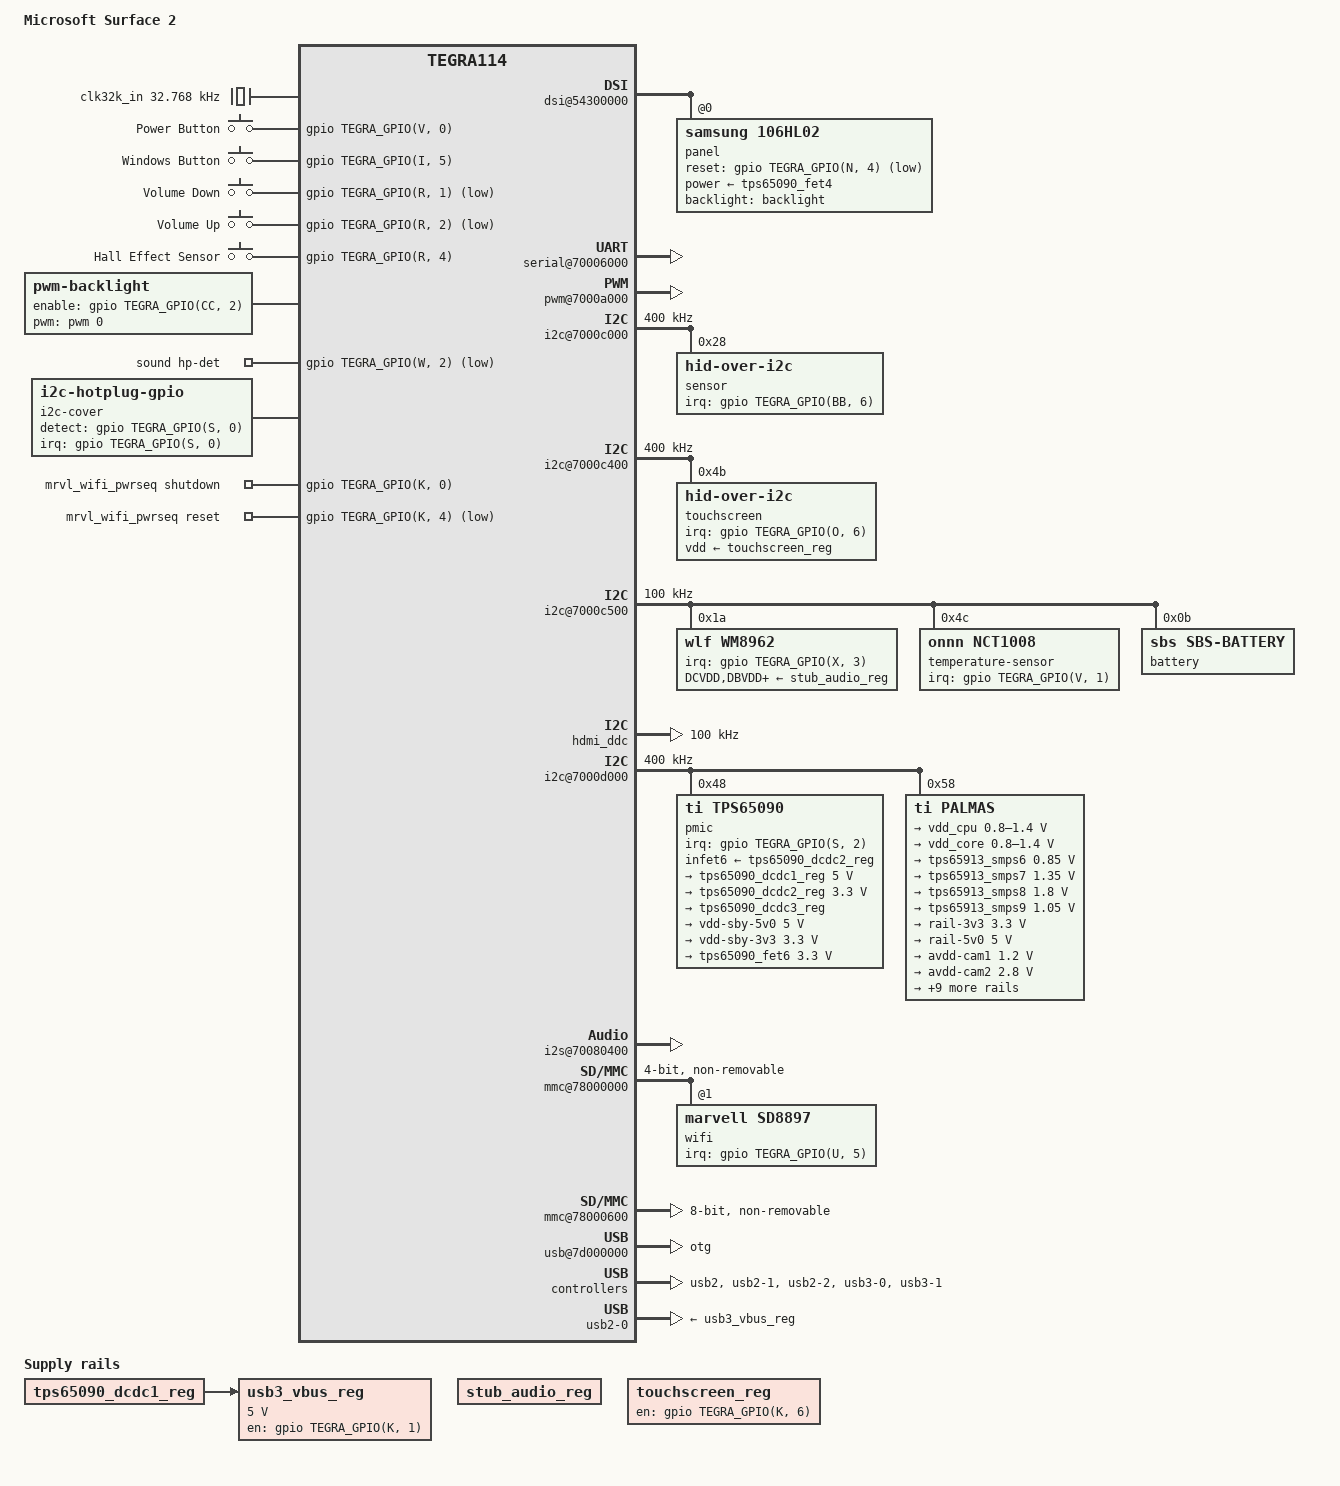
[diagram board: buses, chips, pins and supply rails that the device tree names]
// SPDX-License-Identifier: GPL-2.0

/dts-v1/;

#include <dt-bindings/input/input.h>
#include "tegra114.dtsi"
//#include "tegra114-microsoft-surface-2-emc.dtsi"

/ {
	model = "Microsoft Surface 2";
	compatible = "microsoft,surface-2", "nvidia,tegra114";

	aliases {
		mmc0 = &sdmmc4; /* eMMC */
		mmc1 = &sdmmc3; /* uSD slot */
		mmc2 = &sdmmc1; /* WiFi */

		rtc0 = &palmas;
		rtc1 = "/rtc@7000e000";

		serial0 = &uarta; /* console */
	};

	chosen {
		stdout-path = "serial0:115200n8";
	};

	/* CPU DFLL clock */
	clock@70110000 {
		status = "okay";
		nvidia,i2c-fs-rate = <400000>;
		vdd-cpu-supply = <&vdd_cpu>;
		nvidia,i2c-fs-rate = <400000>;
	};

	clk32k_in: clock-32 {
		compatible = "fixed-clock";
		clock-frequency = <32768>;
		#clock-cells = <0>;
	};

	gpio-keys {
		compatible = "gpio-keys";

		label = "GPIO Buttons";

		power {
			label = "Power Button";
			gpios = <&gpio TEGRA_GPIO(V, 0) GPIO_ACTIVE_HIGH>;
			linux,code = <KEY_POWER>;
			debounce-interval = <10>;
			wakeup-source;
		};

		windows-button {
			label = "Windows Button";
			gpios = <&gpio TEGRA_GPIO(I, 5) GPIO_ACTIVE_HIGH>;
			linux,code = <KEY_LEFTMETA>;
			debounce-interval = <10>;
			wakeup-source;
		};

		volume-down {
			label = "Volume Down";
			gpios = <&gpio TEGRA_GPIO(R, 1) GPIO_ACTIVE_LOW>;
			linux,code = <KEY_VOLUMEDOWN>;
			debounce-interval = <10>;
		};

		volume-up {
			label = "Volume Up";
			gpios = <&gpio TEGRA_GPIO(R, 2) GPIO_ACTIVE_LOW>;
			linux,code = <KEY_VOLUMEUP>;
			debounce-interval = <10>;
		};
	};

	gpio-hall-sensor {
		compatible = "gpio-keys";

		label = "GPIO Hall Effect Sensor";

		hall-sensor {
			label = "Hall Effect Sensor";
			gpios = <&gpio TEGRA_GPIO(R, 4) GPIO_ACTIVE_HIGH>;
			linux,input-type = <EV_SW>;
			linux,code = <SW_LID>;
			linux,can-disable;
			wakeup-source;
		};
	};

	backlight: backlight {
		compatible = "pwm-backlight";

		enable-gpios = <&gpio TEGRA_GPIO(CC, 2) GPIO_ACTIVE_HIGH>;
		//power-supply = <&tps65090_fet1>;
		pwms = <&pwm 0 100000>;

		brightness-levels = <1 254>;
		num-interpolated-steps = <254>;
		default-brightness-level = <128>;
	};

	sound {
		compatible = "nvidia,tegra-audio-wm8962";
		nvidia,model = "NVIDIA Tegra Surface 2";

		nvidia,audio-routing =
			"Headphone Jack", "HPOUTR",
			"Headphone Jack", "HPOUTL",
			"Int Spk", "SPKOUTR",
			"Int Spk", "SPKOUTL";

		nvidia,i2s-controller = <&tegra_i2s1>;
		nvidia,audio-codec = <&wm8962>;

		nvidia,hp-det-gpios = <&gpio TEGRA_GPIO(W, 2) GPIO_ACTIVE_LOW>;

		clocks = <&tegra_car TEGRA114_CLK_PLL_A>,
			 <&tegra_car TEGRA114_CLK_PLL_A_OUT0>,
			 <&tegra_pmc TEGRA_PMC_CLK_OUT_1>;
		clock-names = "pll_a", "pll_a_out0", "mclk";

		assigned-clocks = <&tegra_car TEGRA114_CLK_EXTERN1>,
				  <&tegra_pmc TEGRA_PMC_CLK_OUT_1>;

		assigned-clock-parents = <&tegra_car TEGRA114_CLK_PLL_A_OUT0>,
					 <&tegra_car TEGRA114_CLK_EXTERN1>;
	};

	host1x@50000000 {
		hdmi@54280000 {
			status = "disabled"; // doesn't work yet

			nvidia,ddc-i2c-bus = <&hdmi_ddc>;
			nvidia,hpd-gpio = <&gpio TEGRA_GPIO(N, 7) GPIO_ACTIVE_HIGH>;
		};

		dsi@54300000 {
			status = "okay";

			avdd-dsi-csi-supply = <&tps65913_ldo3>;

			panel@0 {
				compatible = "samsung,106hl02";
				reg = <0>;

				// Reset pin is guessed. Not even sure if there is a reset pin.
				reset-gpios = <&gpio TEGRA_GPIO(N, 4) GPIO_ACTIVE_LOW>;

				// FET4 doesn't control backlight but it is needed for the display to work??
				power-supply = <&tps65090_fet4>;
				backlight = <&backlight>;
			};
		};
	};

	pmc@7000e400 {
		status = "okay";
		nvidia,invert-interrupt;
                nvidia,suspend-mode = <2>;

	};

	serial@70006000 {
		status = "okay";
	};

	pinmux@70000868 {
		pinctrl-names = "default";
		pinctrl-0 = <&state_default>;

		state_default: pinmux {
			/* UART A RX ??? */

			sdmmc3_cmd_pa7 {
				nvidia,pins = "sdmmc3_cmd_pa7";
				nvidia,function = "uarta";
				nvidia,pull = <TEGRA_PIN_PULL_DOWN>;
				nvidia,tristate = <TEGRA_PIN_ENABLE>;
				nvidia,enable-input = <TEGRA_PIN_ENABLE>;
			};


			/* UART A TX */

			sdmmc3_dat1_pb6 {
				nvidia,pins = "sdmmc3_dat1_pb6";
				nvidia,function = "uarta";
				nvidia,pull = <TEGRA_PIN_PULL_NONE>;
				nvidia,tristate = <TEGRA_PIN_DISABLE>;
				nvidia,enable-input = <TEGRA_PIN_DISABLE>;
			};


			panel-backlight {
				nvidia,pins = "gmi_ad8_ph0";
				nvidia,function = "pwm0";
				nvidia,pull = <TEGRA_PIN_PULL_NONE>;
				nvidia,tristate = <TEGRA_PIN_DISABLE>;
				nvidia,enable-input = <TEGRA_PIN_DISABLE>;
			};
/*
			hdmi_int_pn7 {
				nvidia,pins = "hdmi_int_pn7";
				nvidia,function = "rsvd1";
				nvidia,pull = <TEGRA_PIN_PULL_DOWN>;
				nvidia,tristate = <TEGRA_PIN_DISABLE>;
				nvidia,enable-input = <TEGRA_PIN_ENABLE>;
			};
*/

			usb_vbus_en0_pn4 {
				nvidia,pins = "usb_vbus_en0_pn4";
				nvidia,function = "usb";
				nvidia,pull = <TEGRA_PIN_PULL_UP>;
				nvidia,tristate = <TEGRA_PIN_DISABLE>;
				nvidia,enable-input = <TEGRA_PIN_ENABLE>;
				nvidia,lock = <TEGRA_PIN_DISABLE>;
				nvidia,open-drain = <TEGRA_PIN_ENABLE>;
			};


		};
	};

	pwm@7000a000 {
		status = "okay";
	};

	i2c@7000c000 {
		status = "okay";
		clock-frequency = <400000>;

		sensor@28 {
			compatible = "hid-over-i2c";
			reg = <0x28>;
			hid-descr-addr = <0x0001>;
			interrupt-parent = <&gpio>;
			interrupts = <TEGRA_GPIO(BB, 6) IRQ_TYPE_LEVEL_LOW>;
		};
	};

	i2c-cover {
		compatible = "i2c-hotplug-gpio";

		#address-cells = <1>;
		#size-cells = <0>;

		interrupts-extended = <&gpio TEGRA_GPIO(S, 0) IRQ_TYPE_EDGE_BOTH>;
		detect-gpios = <&gpio TEGRA_GPIO(S, 0) GPIO_ACTIVE_HIGH>;

		i2c-parent = <&i2c1>;

		cover@0 {
			compatible = "hid-over-i2c";
			reg = <0x00>;
			hid-descr-addr = <0x0041>;
			interrupt-parent = <&gpio>;
			interrupts = <TEGRA_GPIO(C, 7) IRQ_TYPE_LEVEL_LOW>;
		};
	};

	i2c@7000c400 {
		status = "okay";
		clock-frequency = <400000>;

		touchscreen@4b {
			compatible = "hid-over-i2c";
			reg = <0x4b>;
			hid-descr-addr = <0x0000>;
			interrupt-parent = <&gpio>;
			interrupts = <TEGRA_GPIO(O, 6) IRQ_TYPE_LEVEL_LOW>;
			vdd-supply = <&touchscreen_reg>;
		};
	};

	i2c@7000c500 {
		status = "okay";
		clock-frequency = <100000>;

		wm8962: audio-codec@1a {
			compatible = "wlf,wm8962";
			reg = <0x1a>;
			interrupt-parent = <&gpio>;
			interrupts = <TEGRA_GPIO(X, 3) IRQ_TYPE_LEVEL_HIGH>;

			// stub reg to make dtbs_check happy
			DCVDD-supply = <&stub_audio_reg>;
			DBVDD-supply = <&stub_audio_reg>;
			AVDD-supply = <&stub_audio_reg>;
			CPVDD-supply = <&stub_audio_reg>;
			MICVDD-supply = <&stub_audio_reg>;
			PLLVDD-supply = <&stub_audio_reg>;
			SPKVDD1-supply = <&stub_audio_reg>;
			SPKVDD2-supply = <&stub_audio_reg>;
		};

		temperature-sensor@4c {
			compatible = "onnn,nct1008";
			reg = <0x4c>;
			interrupt-parent = <&gpio>;
			interrupts = <TEGRA_GPIO(V, 1) IRQ_TYPE_EDGE_FALLING>;
		};

		battery@b {
	                status = "okay";
			compatible = "sbs,sbs-battery";
			reg = < 0xb >;
			sbs,i2c-retry-count = <2>;
			sbs,poll-retry-count = <10>;
		};

	};

	hdmi_ddc: i2c@7000c700 {
		status = "okay";
		clock-frequency = <100000>;
	};

	i2c@7000d000 {
		status = "okay";
		clock-frequency = <400000>;

		// Battery Charger, SMPS, LDOs, FETs
		pmic@48 {
			compatible = "ti,tps65090";
			reg = <0x48>;

			interrupt-parent = <&gpio>;
			interrupts = <TEGRA_GPIO(S, 2) IRQ_TYPE_LEVEL_HIGH>;

			infet6-supply = <&tps65090_dcdc2_reg>;

			charger {
				compatible = "ti,tps65090-charger";
				//ti,enable-low-current-chrg;
			};

			regulators {
				tps65090_dcdc1_reg: dcdc1 {
					regulator-name = "vdd-sys-5v0";
                                        regulator-min-microvolt = <5000000>;
                                        regulator-max-microvolt = <5000000>;
					regulator-always-on;
					regulator-boot-on;
				};

				tps65090_dcdc2_reg: dcdc2 {
					regulator-name = "vdd-sys-3v3";
                                        regulator-min-microvolt = <3300000>;
                                        regulator-max-microvolt = <3300000>;
					regulator-always-on;
					regulator-boot-on;
				};

				tps65090_dcdc3_reg: dcdc3 {
					regulator-name = "vdd-ao";
					regulator-always-on;
					regulator-boot-on;
				};

				ldo1 {
					regulator-name = "vdd-sby-5v0";
                                        regulator-min-microvolt = <5000000>;
                                        regulator-max-microvolt = <5000000>;
					regulator-always-on;
					regulator-boot-on;
				};

				ldo2 {
					regulator-name = "vdd-sby-3v3";
                                        regulator-min-microvolt = <3300000>;
                                        regulator-max-microvolt = <3300000>;
					regulator-always-on;
					regulator-boot-on;
				};

				tps65090_fet1: fet1 {
					regulator-always-on;
				};

/*
				tps65090_fet2: fet2 {
					regulator-always-on;
				};
*/

				/* No FET3 - crash boot - can't enable */

				tps65090_fet4: fet4 {
					//regulator-name = "vdd-lcd";
					regulator-always-on;
				};

				/* No FET5 - crash boot - can't enable */

				tps65090_fet6: fet6 {
					regulator-name = "vdd-sd-slot";
                                        regulator-min-microvolt = <3300000>;
                                        regulator-max-microvolt = <3300000>;

				};

				/* No FET7 - crash boot - can't enable */

			};
		};

		palmas: pmic@58 {
			compatible = "ti,palmas";
			reg = <0x58>;
			interrupts = <GIC_SPI 86 IRQ_TYPE_LEVEL_HIGH>;

			#interrupt-cells = <2>;
			interrupt-controller;

			ti,system-power-controller;

			palmas_gpio: gpio {
				compatible = "ti,palmas-gpio";
				gpio-controller;
				#gpio-cells = <2>;
			};

			pmic {
				compatible = "ti,tps65913-pmic", "ti,palmas-pmic";

				ldo9-in-supply = <&tps65913_smps9>;
				ldoln-in-supply = <&tps65090_dcdc1_reg>;
				ldousb-in-supply = <&tps65090_dcdc1_reg>;

				regulators {

					vdd_cpu: smps123 {
						regulator-name = "vdd-cpu";
						regulator-min-microvolt = <800000>;
						regulator-max-microvolt = <1400000>;
						regulator-always-on;
						regulator-boot-on;
						ti,roof-floor = <1>;
						ti,mode-sleep = <0>;
						regulator-ramp-delay = <2500>;
						ti,warm-reset;
						regulator-coupled-with = <&vdd_core>;
						regulator-coupled-max-spread = <300000>;
						regulator-max-step-microvolt = <100000>;
						nvidia,tegra-cpu-regulator;
					};

					/*BDID 13*/
					vdd_core: smps45 {
						regulator-name = "vdd-core";
						regulator-min-microvolt = <800000>;
						regulator-max-microvolt = <1400000>;
						regulator-always-on;
						regulator-boot-on;
						ti,roof-floor = <1>;
						ti,mode-sleep = <0>;
						regulator-ramp-delay = <5000>;
						ti,warm-reset;
						regulator-coupled-with = <&vdd_cpu>;
						regulator-coupled-max-spread = <300000>;
						regulator-max-step-microvolt = <100000>;
						nvidia,tegra-core-regulator;
					};

					/*BDID 0B*/
/*					vdd_core: smps457 {
						regulator-name = "vdd-core";
						regulator-min-microvolt = <800000>;
						regulator-max-microvolt = <1400000>;
						regulator-always-on;
						regulator-boot-on;
						ti,roof-floor = <1>;
						ti,mode-sleep = <0>;
						regulator-ramp-delay = <5000>;
						ti,warm-reset;
                                                regulator-coupled-with = <&vdd_cpu>;
                                                regulator-coupled-max-spread = <300000>;
                                                regulator-max-step-microvolt = <100000>;
						nvidia,tegra-core-regulator;
					};
*/
					// disabled in UEFI, could be used for something.
					smps6 {
						regulator-name = "tps65913_smps6";
						regulator-min-microvolt = <850000>;
						regulator-max-microvolt = <850000>;
						ti,roof-floor = <1>;
						ti,mode-sleep = <0>;
						regulator-ramp-delay = <5000>;
						ti,warm-reset;
					};

					//not present on BDID 0B
                                        tps65913_smps7: smps7 { 
                                                regulator-name = "tps65913_smps7"; //likely vd-ddr
                                                regulator-min-microvolt = <1350000>;
                                                regulator-max-microvolt = <1350000>;
                                                regulator-always-on;
                                                ti,warm-reset;
                                        };

					tps65913_smps8: smps8 {
						regulator-name = "vdd-1v8"; //likely vs-pmu-1v8
						regulator-min-microvolt = <1800000>;
						regulator-max-microvolt = <1800000>;
						regulator-always-on;
						regulator-boot-on;
						ti,roof-floor = <1>;
						ti,mode-sleep = <0>;
						regulator-ramp-delay = <5000>;
						ti,warm-reset;
					};

					tps65913_smps9: smps9 {
						regulator-name = "vdd-1v05"; // likely va-pllx or avdd-pll
						regulator-min-microvolt = <1050000>;
						regulator-max-microvolt = <1050000>;
						regulator-always-on;
						ti,warm-reset;
					};

					regen1 {
						regulator-name = "rail-3v3";
                                                regulator-min-microvolt = <0000000>; //setting to above 0 disabled backlight, possibly display
						regulator-max-microvolt = <3300000>;
						regulator-always-on;
						regulator-boot-on;
					};


					regen2 {
						regulator-name = "rail-5v0";
						regulator-min-microvolt = <0000000>; //setting to above 0 disables display but not backlight LDO3,4,5,6 missing
						regulator-max-microvolt = <5000000>;
						regulator-always-on;
						regulator-boot-on;
					};

					ldo1 {
						regulator-name = "avdd-cam1";
                                                regulator-min-microvolt = <1200000>;
                                                regulator-max-microvolt = <1200000>;
						regulator-always-on;
						regulator-boot-on;
					};

					ldo2 {
						regulator-name = "avdd-cam2";
                                                regulator-min-microvolt = <2800000>;
                                                regulator-max-microvolt = <2800000>;
						regulator-always-on;
						regulator-boot-on;
					};

                                        tps65913_ldo3: ldo3 {
                                                regulator-name = "tps65913_ldo3"; // likely va-ap-1v2
                                                regulator-min-microvolt = <1200000>;
                                                regulator-max-microvolt = <1200000>;
                                                regulator-always-on;
                                                regulator-boot-on;
                                        };


                                        ldo4 {
                                                regulator-name = "tps65913_ldo4"; // likely vd-fuse
                                                regulator-min-microvolt = <1800000>;
                                                regulator-max-microvolt = <1800000>;
                                                regulator-always-on;
                                                regulator-boot-on;
                                        };

					ldo5 {
					        regulator-name = "tps65913_ldo5";
                                                regulator-min-microvolt = <1800000>;
                                                regulator-max-microvolt = <1800000>;
						regulator-always-on;
						regulator-boot-on;
					};

					ldo6 {
                                                regulator-name = "tps65913_ldo6";
                                                regulator-min-microvolt = <900000>;
                                                regulator-max-microvolt = <3300000>;
                                                regulator-always-on;
                                                regulator-boot-on;
                                        };

					ldo7 {
						regulator-name = "vdd-af-cam1";
                                                regulator-min-microvolt = <1800000>;
                                                regulator-max-microvolt = <1800000>;
						regulator-always-on;
						regulator-boot-on;
					};

					ldo8 {
						regulator-name = "vdd-rtc";
                                                regulator-min-microvolt = <1200000>;
                                                regulator-max-microvolt = <1200000>;
						regulator-always-on;
						regulator-boot-on;
					};

					tps65913_ldo9: ldo9 {
						regulator-name = "vddio-sdmmc-2";
						regulator-min-microvolt = <1800000>;
						regulator-max-microvolt = <3300000>;
					};

					ldousb: ldousb {
						regulator-name = "avdd-usb";
						regulator-min-microvolt = <3300000>;
						regulator-max-microvolt = <3300000>;
						regulator-always-on;
						regulator-boot-on;
					};

					sysen1 {
						// enabled by UEFI. need to check again
					};

					ldoln {
						regulator-name = "va-hdmi";
						regulator-min-microvolt = <1800000>;
						regulator-max-microvolt = <1800000>;
						regulator-always-on;
						regulator-boot-on;
					};

				};
			};

			rtc {
				compatible = "ti,palmas-rtc";
				interrupt-parent = <&palmas>;
				interrupts = <8 0>;
			};

			pinmux {
				compatible = "ti,tps65913-pinctrl";
				ti,palmas-enable-dvfs2; //prev. dvfs1
				pinctrl-names = "default";
				pinctrl-0 = <&palmas_default>;

				palmas_default: pinmux {
					// empty
				};
			};
		};
	};

	ahub@70080000 {
		/* I2S1 -> audio-codec */
		i2s@70080400 {
			status = "okay";
		};
	};

	/* WiFi - SDMMC-1 */
	mmc@78000000 {
		#address-cells = <1>;
		#size-cells = <0>;

		status = "okay";

		bus-width = <4>;
//		cap-power-off-card;
		keep-power-in-suspend;
		max-frequency = <100000000>;

		non-removable;

		assigned-clocks = <&tegra_car TEGRA114_CLK_SDMMC1>;
		assigned-clock-parents = <&tegra_car TEGRA114_CLK_PLL_C>;
		assigned-clock-rates = <100000000>;
		mmc-pwrseq = <&mrvl_wifi_pwrseq>;
//		vqmmc-supply = <&xxxx>; //todo

		/* Marvell 88W8797 WiFi */
		wifi@1 {
			compatible = "marvell,sd8897";
			reg = <1>;
			interrupt-parent = <&gpio>;
			interrupts = <TEGRA_GPIO(U, 5) IRQ_TYPE_LEVEL_LOW>; // change back to LOW to comply ACPI
		};
	};

	mrvl_wifi_pwrseq: wifi-pwrseq {
		compatible = "mmc-pwrseq-simple";

		clocks = <&tegra_pmc TEGRA_PMC_CLK_BLINK>;
		clock-names = "ext_clock";

		post-power-on-delay-ms = <300>;
		power-off-delay-us = <300>;

		shutdown-gpios = <&gpio TEGRA_GPIO(K, 0) GPIO_ACTIVE_HIGH>;
		reset-gpios = <&gpio TEGRA_GPIO(K, 4) GPIO_ACTIVE_LOW>;

	};

	/* SD - SDMMC-3 */
	mmc@78000400 {
		status = "disabled"; // disable uart in UEFI stub
		bus-width = <4>;
		cd-gpios = <&gpio TEGRA_GPIO(V, 2) GPIO_ACTIVE_LOW>;
		vqmmc-supply = <&tps65913_ldo9>; // io voltage
		vmmc-supply = <&tps65090_fet6>; // card power
	};

	/* eMMC - SDMMC-4 */
	mmc@78000600 {
		status = "okay";
		bus-width = <8>;
		non-removable;
	};

	usb@7d000000 {
		status = "okay";
		dr_mode = "otg";
	};

	usb-phy@7d000000 {
		status = "okay";
		/* TODO: vbus-supply */
		vbus-supply = <&usb3_vbus_reg>;

		nvidia,xcvr-setup = <7>;
		nvidia,xcvr-lsfslew = <2>;
		nvidia,xcvr-lsrslew = <2>;
	};

	usb3_vbus_reg: regulator-usb3 {

		compatible = "regulator-fixed";
		regulator-name = "usb2_vbus";
		regulator-min-microvolt = <5000000>;
		regulator-max-microvolt = <5000000>;
		enable-active-high;
		gpio = <&gpio TEGRA_GPIO(K, 1) GPIO_ACTIVE_HIGH>;
		regulator-enable-ramp-delay = <100000>; // 100ms
		vin-supply = <&tps65090_dcdc1_reg>;
/*
		compatible = "regulator-fixed";
		regulator-name = "usb1_vbus";
		regulator-min-microvolt = <5000000>;
		regulator-max-microvolt = <5000000>;
		enable-active-high;
		gpio = <&gpio TEGRA_GPIO(N, 4) GPIO_ACTIVE_HIGH>;
		gpio-open-drain;
		vin-supply = <&tps65090_dcdc1_reg>;
*/
	};

	cpus {
		cpu@0 {
			vdd-cpu-supply = <&vdd_cpu>;
		};
	};

	thermal-zones {
		cpu-thermal {
			trips {
				cpu-shutdown-trip {
					temperature = <101000>;
					hysteresis = <0>;
					type = "critical";
				};
			};
		};

		mem-thermal {
			trips {
				mem-shutdown-trip {
					temperature = <101000>;
					hysteresis = <0>;
					type = "critical";
				};
			};
		};

		gpu-thermal {
			trips {
				gpu-shutdown-trip {
					temperature = <101000>;
					hysteresis = <0>;
					type = "critical";
				};
			};
		};
	};

	stub_audio_reg: stub_audio {
		compatible = "regulator-fixed";
		regulator-name = "stub_audio";
	};

	touchscreen_reg: touchscreen_vdd {
		compatible = "regulator-fixed";
		regulator-name = "touchscreen_vdd";
		enable-active-high;
		regulator-enable-ramp-delay = <70000>; // 70ms from ACPI
		gpio = <&gpio TEGRA_GPIO(K, 6) GPIO_ACTIVE_HIGH>;
	};

	padctl@7009f000 {
//		avdd-pll-utmip-supply = <&tps65913_smps8>;
//		avdd-pll-erefe-supply = <&tps65913_smps9>;
//		avdd-pex-pll-supply = <&tps65913_smps9>;
//		hvdd-pex-pll-e-supply = <&ldousb>;

		pads {
			usb2 {
				status = "okay";

				lanes {
					usb2-0 {
						status = "okay";
						nvidia,function = "xusb";
					};

					usb2-1 {
						status = "okay";
						nvidia,function = "xusb";
					};

					usb2-2 {
						status = "okay";
						nvidia,function = "xusb";
					};
				};
			};

		};

		ports {
			/* USBO1 */
			usb2-0 {
				status = "okay";
				mode = "otg";
				usb-role-switch;
				vbus-supply = <&usb3_vbus_reg>;
			};

			/* USBH2 */
			usb2-1 {
				status = "okay";
				mode = "host";
			//	vbus-supply = <&reg_usbh_vbus>;
			};

			/* USBH4 */
			usb2-2 {
				status = "okay";
				mode = "host";
			//	vbus-supply = <&reg_usbh_vbus>;
			};

			usb3-0 {
				status = "okay";
				nvidia,usb2-companion = <2>;
			//	vbus-supply = <&reg_usbh_vbus>;
			};

			usb3-1 {
				status = "okay";
				nvidia,usb2-companion = <0>;
			//	vbus-supply = <&reg_usbo1_vbus>;
			};
		};
	};

};

